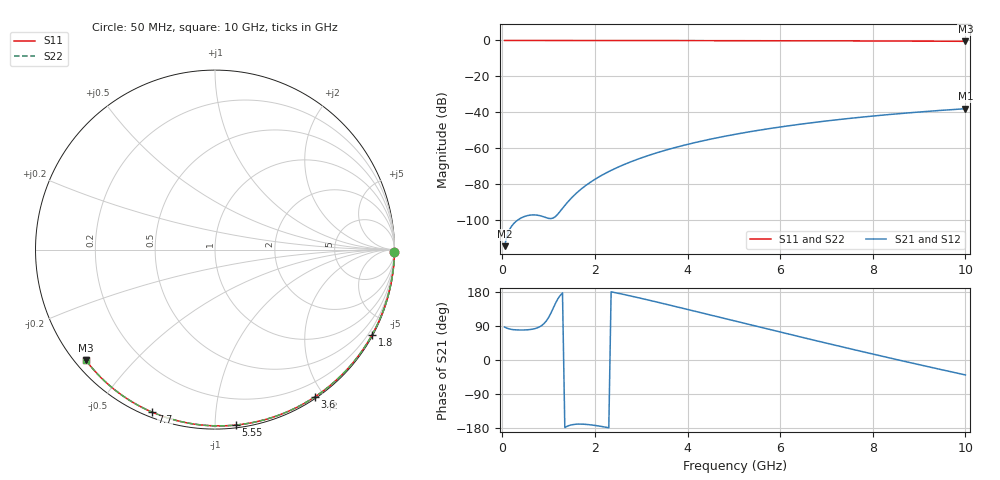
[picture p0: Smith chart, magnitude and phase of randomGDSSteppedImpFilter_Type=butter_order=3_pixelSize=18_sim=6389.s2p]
! freq	dB(S11)	phase(S11)	dB(S12)	phase(S12)
!  dB(S21)	phase(S21)	dB(S22)	phase(S22)
!S-par simulation data
#  GHz  S  DB  R 50
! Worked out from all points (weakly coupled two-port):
!   200 points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, 50 MHz to 10 GHz, reference 50 ohm
!   highest |S21| = -37.95 dB at 10 GHz (marker M1); lowest = -114.4 dB at 50 MHz (marker M2)
!   lowest |S11| = -0.5 dB at 10 GHz (marker M3), VSWR 36.83, Z = 1.54 - j18.4 ohm
!   |S11| at or under -10 dB: nowhere
!   |S22| runs from -0.5 to 0.0 dB; largest |S21 - S12| = 0
!   S11 on the Smith chart (normalised r, x): 50 MHz: open; 1.8 GHz: 0.03, -3.93; 3.6 GHz: 0.02, -1.89; 5.55 GHz: 0.02, -1.12; 7.7 GHz: 0.02, -0.68; 10 GHz: 0.03, -0.37
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0.05  -0.00 -0.8  -114.37 86.7  -114.37 86.7  -0.00 -0.8
0.45  -0.01 -7.3  -98.16 79.1  -98.16 79.1  -0.01 -7.3
0.9  -0.02 -14.4  -98.10 96.0  -98.10 96.0  -0.02 -14.4
1.75  -0.04 -27.8  -81.66 -169.4  -81.66 -169.4  -0.04 -27.8
1.8  -0.04 -28.6  -80.68 -169.8  -80.68 -169.8  -0.04 -28.6
1.85  -0.04 -29.4  -79.75 -170.3  -79.75 -170.3  -0.04 -29.4
2  -0.04 -31.7  -77.20 -172.6  -77.20 -172.6  -0.04 -31.7
2.15  -0.04 -34.0  -74.93 -175.5  -74.93 -175.5  -0.04 -34.0
2.35  -0.05 -37.1  -72.24 179.9  -72.24 179.9  -0.05 -37.1
2.55  -0.05 -40.1  -69.86 174.9  -69.86 174.9  -0.05 -40.1
2.95  -0.06 -46.2  -65.77 164.1  -65.77 164.1  -0.06 -46.2
3.4  -0.07 -52.9  -61.96 151.2  -61.96 151.2  -0.07 -52.9
3.6  -0.08 -55.8  -60.47 145.3  -60.47 145.3  -0.08 -55.8
4.3  -0.09 -65.9  -55.97 124.5  -55.97 124.5  -0.09 -66.0
5.05  -0.12 -76.5  -52.08 102.0  -52.08 102.0  -0.12 -76.5
5.55  -0.14 -83.3  -49.88 87.1  -49.88 87.1  -0.14 -83.3
6.1  -0.16 -90.6  -47.74 70.8  -47.74 70.8  -0.16 -90.7
6.7  -0.19 -98.5  -45.69 53.1  -45.69 53.1  -0.19 -98.5
7.7  -0.25 -111.2  -42.79 24.2  -42.79 24.2  -0.25 -111.2
8.35  -0.31 -119.3  -41.19 5.8  -41.19 5.8  -0.31 -119.3
9.2  -0.38 -129.7  -39.39 -17.8  -39.39 -17.8  -0.38 -129.8
10  -0.47 -139.5  -37.95 -39.4  -37.95 -39.4  -0.47 -139.5
